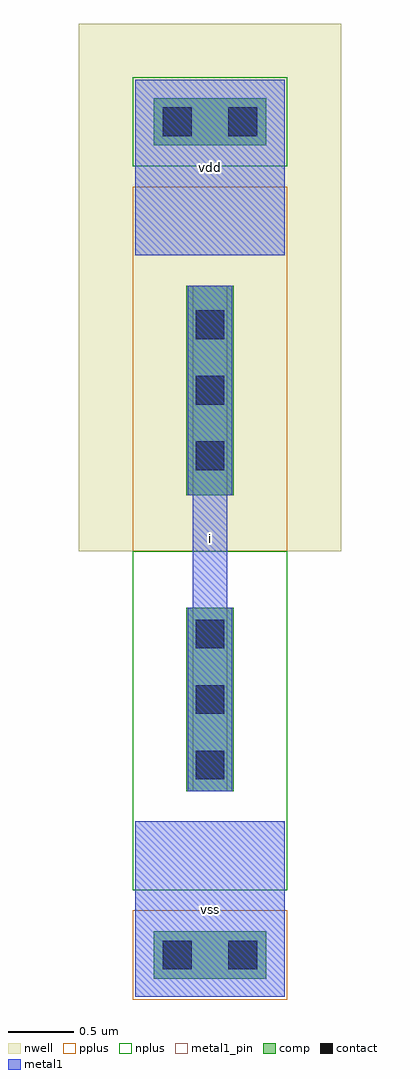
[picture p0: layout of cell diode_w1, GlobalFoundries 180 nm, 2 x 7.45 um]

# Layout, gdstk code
import gdstk
lib = gdstk.Library(unit=1e-6, precision=1e-09)
def R(c, l, rs):  # rectangles x0, y0, x1, y1
    for r in rs: c.add(gdstk.rectangle(r[:2], r[2:], *l))
def A(c, l, x, y, w, h, nx, ny, dx, dy):  # array of equal rectangles
    R(c, l, [(x+i*dx, y+j*dy, x+i*dx+w, y+j*dy+h) for i in range(nx) for j in range(ny)])
def P(c, l, *ps):  # polygons
    for p in ps: c.add(gdstk.Polygon(p, *l))
nwell = (21, 0)
comp = (22, 0)
pplus = (31, 0)
nplus = (32, 0)
contact = (33, 0)
metal1 = (34, 0)
metal1_pin = (34, 10)

diode_w1 = lib.new_cell('diode_w1')
R(diode_w1, nwell, [(-0.43,3.4,1.57,7.43)])
R(diode_w1, comp, [(0.14,0.14,1,0.5), (0.39,1.57,0.75,2.97), (0.39,3.83,0.75,5.43), (0.14,6.5,1,6.86)])
R(diode_w1, pplus, [(-0.02,-0.02,1.16,0.66), (-0.02,3.4,1.16,6.185)])
R(diode_w1, nplus, [(-0.02,0.815,1.16,3.4), (-0.02,6.34,1.16,7.02)])
A(diode_w1, contact, 0.46, 1.66, 0.22, 0.22, 1, 3, 0, 0.5)
A(diode_w1, contact, 0.46, 4.02, 0.22, 0.22, 1, 3, 0, 0.5)
R(diode_w1, contact, [(0.21,0.21,0.43,0.43), (0.71,0.21,0.93,0.43), (0.21,6.57,0.43,6.79), (0.71,6.57,0.93,6.79)])
R(diode_w1, metal1, [(0,0,1.14,1.34), (0,5.66,1.14,7)])
P(diode_w1, metal1, [(0.4,1.57),(0.4,2.97),(0.44,2.97),(0.44,3.83),(0.4,3.83),(0.4,5.43),(0.74,5.43),(0.74,3.83),(0.7,3.83),(0.7,2.97),(0.74,2.97),(0.74,1.57)])
R(diode_w1, metal1_pin, [(0,0,1.14,1.34), (0.44,1.57,0.7,5.43), (0,5.66,1.14,7)])
diode_w1.add(gdstk.Label('vdd', (0.57,6.33), layer=34, texttype=10))
diode_w1.add(gdstk.Label('vss', (0.57,0.67), layer=34, texttype=10))
diode_w1.add(gdstk.Label('i', (0.57,3.5), layer=34, texttype=10))

lib.write_gds('diode_w1.gds')
